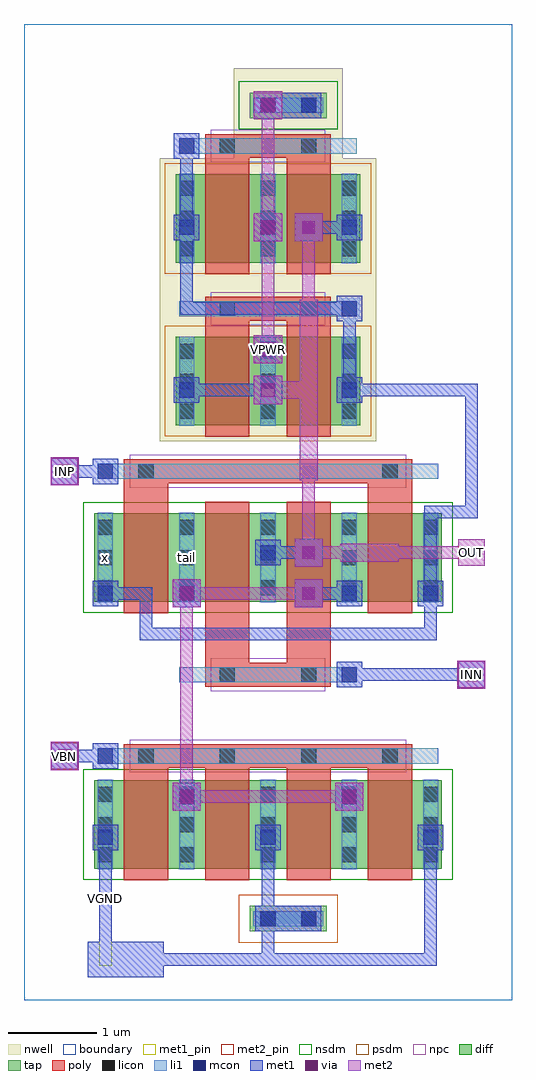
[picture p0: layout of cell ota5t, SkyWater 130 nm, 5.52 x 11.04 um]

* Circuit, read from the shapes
.subckt ota5t INN INP OUT VBN VGND VPWR tail x
XM1 tail VBN VGND VGND sky130_fd_pr__nfet_01v8 w=1 l=0.5 m=4
XM2 tail INP x VGND sky130_fd_pr__nfet_01v8 w=1 l=0.5 m=2
XM3 OUT INN tail VGND sky130_fd_pr__nfet_01v8 w=1 l=0.5 m=2
XM4 VPWR x OUT VPWR sky130_fd_pr__pfet_01v8 w=1 l=0.5 m=2
XM5 VPWR x x VPWR sky130_fd_pr__pfet_01v8 w=1 l=0.5 m=2
.ends

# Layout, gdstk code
import gdstk
lib = gdstk.Library(unit=1e-6, precision=1e-09)
def R(c, l, rs):  # rectangles x0, y0, x1, y1
    for r in rs: c.add(gdstk.rectangle(r[:2], r[2:], *l))
def A(c, l, x, y, w, h, nx, ny, dx, dy):  # array of equal rectangles
    R(c, l, [(x+i*dx, y+j*dy, x+i*dx+w, y+j*dy+h) for i in range(nx) for j in range(ny)])
nwell = (64, 20)
diff = (65, 20)
tap = (65, 44)
poly = (66, 20)
licon = (66, 44)
li1 = (67, 20)
mcon = (67, 44)
met1_pin = (68, 16)
met1 = (68, 20)
via = (68, 44)
met2_pin = (69, 16)
met2 = (69, 20)
nsdm = (93, 44)
psdm = (94, 20)
npc = (95, 20)
boundary = (235, 4)

ota5t = lib.new_cell('ota5t')
R(ota5t, nwell, [(1.535,6.32,3.985,9.52), (2.375,9.52,3.605,10.54)])
R(ota5t, diff, [(0.795,1.485,4.725,2.485), (0.795,4.505,4.725,5.505), (1.715,6.5,3.805,7.5), (1.715,8.34,3.805,9.34)])
R(ota5t, tap, [(2.555,0.775,3.425,1.065), (2.555,9.975,3.425,10.265)])
A(ota5t, poly, 1.13, 1.355, 0.5, 1.405, 4, 1, 0.92, 0)
R(ota5t, poly, [(1.13,2.625,4.39,2.895), (2.05,3.545,3.47,3.815), (2.05,3.68,2.55,5.635), (2.97,3.68,3.47,5.635), (1.13,4.375,1.63,5.98), (3.89,4.375,4.39,5.98), (1.13,5.845,4.39,6.115), (2.05,6.37,2.55,7.82), (2.97,6.37,3.47,7.82), (2.05,7.685,3.47,7.955), (2.05,8.21,2.55,9.66), (2.97,8.21,3.47,9.66), (2.05,9.525,3.47,9.795)])
A(ota5t, licon, 0.835, 1.56, 0.17, 0.17, 5, 3, 0.92, 0.34)
A(ota5t, licon, 1.295, 2.675, 0.17, 0.17, 4, 1, 0.92, 0)
A(ota5t, licon, 0.835, 4.58, 0.17, 0.17, 5, 3, 0.92, 0.34)
A(ota5t, licon, 1.755, 6.575, 0.17, 0.17, 3, 3, 0.92, 0.34)
A(ota5t, licon, 1.755, 8.415, 0.17, 0.17, 3, 3, 0.92, 0.34)
R(ota5t, licon, [(2.675,0.835,2.845,1.005), (3.135,0.835,3.305,1.005), (2.215,3.595,2.385,3.765), (3.135,3.595,3.305,3.765), (1.295,5.895,1.465,6.065), (4.055,5.895,4.225,6.065), (2.215,7.735,2.385,7.905), (3.135,7.735,3.305,7.905), (2.215,9.575,2.385,9.745), (3.135,9.575,3.305,9.745), (2.675,10.035,2.845,10.205), (3.135,10.035,3.305,10.205)])
A(ota5t, li1, 0.835, 1.48, 0.17, 1.01, 5, 2, 0.92, 3.02)
A(ota5t, li1, 1.755, 6.495, 0.17, 1.01, 3, 2, 0.92, 1.84)
R(ota5t, li1, [(2.595,0.835,3.385,1.005), (0.835,2.675,4.685,2.845), (1.755,3.595,3.765,3.765), (0.835,5.895,4.685,6.065), (1.755,7.735,3.765,7.905), (1.755,9.575,3.765,9.745), (2.595,10.035,3.385,10.205)])
A(ota5t, mcon, 0.835, 1.755, 0.17, 0.17, 3, 1, 1.84, 0)
A(ota5t, mcon, 1.755, 2.215, 0.17, 0.17, 1, 3, 0, 2.3)
A(ota5t, mcon, 1.755, 8.655, 0.17, 0.17, 3, 1, 0.92, 0)
R(ota5t, mcon, [(2.675,0.835,2.845,1.005), (3.135,0.835,3.305,1.005), (3.595,2.215,3.765,2.385), (0.835,2.675,1.005,2.845), (3.595,3.595,3.765,3.765), (0.835,4.515,1.005,4.685), (3.595,4.515,3.765,4.685), (4.515,4.515,4.685,4.685), (2.675,4.975,2.845,5.145), (0.835,5.895,1.005,6.065), (3.595,6.815,3.765,6.985), (2.675,7.275,2.845,7.445), (3.595,7.735,3.765,7.905), (1.755,9.575,1.925,9.745), (2.675,10.035,2.845,10.205), (3.135,10.035,3.305,10.205)])
R(ota5t, met1_pin, [(0.85,0.39,0.99,1.91), (2.615,7.215,2.905,7.505)])
A(ota5t, met1, 0.775, 1.695, 0.29, 0.29, 3, 1, 1.84, 0)
A(ota5t, met1, 1.695, 2.155, 0.29, 0.29, 1, 3, 0, 2.3)
A(ota5t, met1, 2.6, 7.2, 0.32, 0.32, 1, 3, 0, 1.38)
A(ota5t, met1, 1.695, 8.595, 0.29, 0.29, 3, 1, 0.92, 0)
R(ota5t, met1, [(0.72,0.26,1.58,0.66), (0.85,0.39,0.99,1.91), (1.31,0.39,2.83,0.53), (2.69,0.39,2.83,0.99), (2.69,0.39,4.67,0.53), (4.53,0.39,4.67,1.91), (2.615,0.775,3.365,1.065), (2.69,0.85,2.83,0.99), (2.69,0.85,2.83,1.91), (1.68,2.14,2,2.46), (3.52,2.14,3.84,2.46), (3.535,2.155,3.825,2.445), (0.3,2.6,0.62,2.92), (0.775,2.615,1.065,2.905), (0.39,2.69,0.99,2.83), (4.9,3.52,5.22,3.84), (3.535,3.535,3.825,3.825), (3.61,3.61,5.13,3.75), (1.31,4.07,1.45,4.67), (1.31,4.07,4.67,4.21), (4.53,4.07,4.67,4.67), (1.68,4.44,2,4.76), (3.06,4.44,3.38,4.76), (0.775,4.455,1.065,4.745), (3.535,4.455,3.825,4.745), (4.455,4.455,4.745,4.745), (0.85,4.53,1.45,4.67), (3.15,4.53,3.75,4.67), (4.53,4.53,4.67,5.59), (3.06,4.9,3.38,5.22), (2.615,4.915,2.905,5.205), (2.69,4.99,3.29,5.13), (4.53,5.45,5.13,5.59), (4.99,5.45,5.13,6.97), (0.3,5.82,0.62,6.14), (0.775,5.835,1.065,6.125), (0.39,5.91,0.99,6.05), (2.6,6.74,2.92,7.06), (3.535,6.755,3.825,7.045), (1.77,6.83,2.83,6.97), (3.61,6.83,5.13,6.97), (3.61,6.83,3.75,7.89), (2.615,7.215,2.905,7.505), (3.535,7.675,3.825,7.965), (1.77,7.75,1.91,8.81), (1.77,7.75,3.75,7.89), (3.06,8.58,3.38,8.9), (1.77,8.67,1.91,9.73), (3.15,8.67,3.75,8.81), (1.695,9.515,1.985,9.805), (2.615,9.975,3.365,10.265), (2.69,10.05,2.83,10.19)])
A(ota5t, via, 2.685, 7.285, 0.15, 0.15, 1, 3, 0, 1.38)
R(ota5t, via, [(1.765,2.225,1.915,2.375), (3.605,2.225,3.755,2.375), (0.385,2.685,0.535,2.835), (4.985,3.605,5.135,3.755), (1.765,4.525,1.915,4.675), (3.145,4.525,3.295,4.675), (3.145,4.985,3.295,5.135), (0.385,5.905,0.535,6.055), (2.685,6.825,2.835,6.975), (3.145,8.665,3.295,8.815)])
R(ota5t, met2_pin, [(0.31,2.61,0.61,2.91), (4.91,3.53,5.21,3.83), (4.91,4.91,5.21,5.21), (0.31,5.83,0.61,6.13)])
A(ota5t, met2, 2.6, 7.2, 0.32, 0.32, 1, 3, 0, 1.38)
R(ota5t, met2, [(1.68,2.14,2,2.46), (3.52,2.14,3.84,2.46), (1.77,2.23,1.91,4.67), (1.77,2.23,3.75,2.37), (0.3,2.6,0.62,2.92), (0.31,2.61,0.61,2.91), (0.39,2.69,0.53,2.83), (4.9,3.52,5.22,3.84), (4.91,3.53,5.21,3.83), (4.99,3.61,5.13,3.75), (1.68,4.44,2,4.76), (3.06,4.44,3.38,4.76), (1.77,4.53,3.29,4.67), (3.06,4.9,3.38,5.22), (4.91,4.91,5.21,5.21), (3.58,4.96,4.24,5.16), (3.15,4.99,3.75,5.13), (3.15,4.99,3.29,6.05), (4.07,4.99,5.13,5.13), (4.99,4.99,5.13,5.13), (0.3,5.82,0.62,6.14), (0.31,5.83,0.61,6.13), (3.12,5.88,3.32,7), (0.39,5.91,0.53,6.05), (2.6,6.74,2.92,7.06), (2.66,6.8,3.32,7), (3.12,6.8,3.32,7.92), (2.69,7.29,2.83,8.81), (3.15,7.75,3.29,8.81), (3.06,8.58,3.38,8.9), (2.69,8.67,2.83,10.19)])
R(ota5t, nsdm, [(0.67,1.36,4.85,2.61), (0.67,4.38,4.85,5.63), (2.43,9.85,3.55,10.39)])
R(ota5t, psdm, [(2.43,0.65,3.55,1.19), (1.59,6.375,3.93,7.625), (1.59,8.215,3.93,9.465)])
R(ota5t, npc, [(1.195,2.575,4.325,2.945), (2.115,3.495,3.405,3.865), (1.195,5.795,4.325,6.165), (2.115,7.635,3.405,8.005), (2.115,9.475,3.405,9.845)])
R(ota5t, boundary, [(0,0,5.52,11.04)])
ota5t.add(gdstk.Label('x', (0.92,5.005), layer=67, texttype=5))
ota5t.add(gdstk.Label('tail', (1.84,5.005), layer=67, texttype=5))
ota5t.add(gdstk.Label('VPWR', (2.76,7.36), layer=68, texttype=5))
ota5t.add(gdstk.Label('VGND', (0.92,1.15), layer=68, texttype=5))
ota5t.add(gdstk.Label('INP', (0.46,5.98), layer=69, texttype=5))
ota5t.add(gdstk.Label('INN', (5.06,3.68), layer=69, texttype=5))
ota5t.add(gdstk.Label('VBN', (0.46,2.76), layer=69, texttype=5))
ota5t.add(gdstk.Label('OUT', (5.06,5.06), layer=69, texttype=5))
ota5t.add(gdstk.Label('VPWR', (2.76,7.36), layer=68, texttype=16))
ota5t.add(gdstk.Label('VGND', (0.92,1.15), layer=68, texttype=16))
ota5t.add(gdstk.Label('INP', (0.46,5.98), layer=69, texttype=16))
ota5t.add(gdstk.Label('INN', (5.06,3.68), layer=69, texttype=16))
ota5t.add(gdstk.Label('VBN', (0.46,2.76), layer=69, texttype=16))
ota5t.add(gdstk.Label('OUT', (5.06,5.06), layer=69, texttype=16))

lib.write_gds('ota5t.gds')
